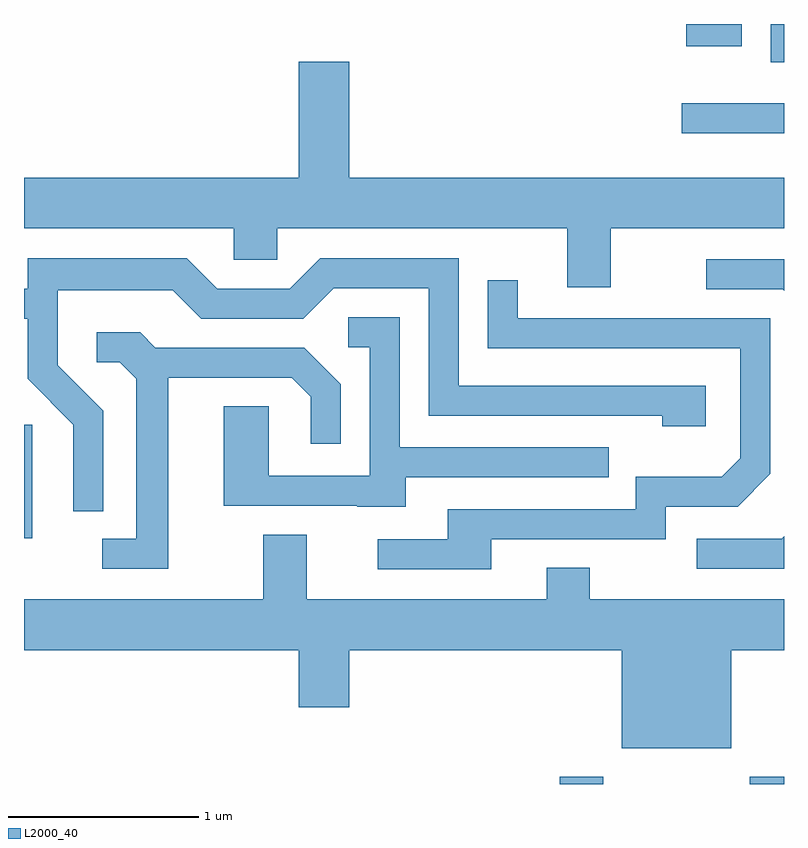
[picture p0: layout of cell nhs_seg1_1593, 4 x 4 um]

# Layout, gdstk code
import gdstk
lib = gdstk.Library(unit=1e-6, precision=1e-09)
def R(c, l, rs):  # rectangles x0, y0, x1, y1
    for r in rs: c.add(gdstk.rectangle(r[:2], r[2:], *l))
def P(c, l, *ps):  # polygons
    for p in ps: c.add(gdstk.Polygon(p, *l))
L2000_40 = (2000, 40)

nhs_seg1_1593 = lib.new_cell('nhs_seg1_1593')
R(nhs_seg1_1593, L2000_40, [(236.431,947.712,236.659,947.749), (237.431,947.712,237.611,947.749), (233.611,949.006,233.654,949.604), (237.073,951.136,237.611,951.294), (237.541,951.511,237.611,951.712), (237.096,951.596,237.389,951.712)])
P(nhs_seg1_1593, L2000_40, [(236.699,950.636),(237.611,950.636),(237.611,950.904),(235.324,950.904),(235.324,951.514),(235.056,951.514),(235.056,950.904),(233.611,950.904),(233.611,950.636),(234.716,950.636),(234.716,950.471),(234.944,950.471),(234.944,950.636),(236.471,950.636),(236.471,950.326),(236.699,950.326)],
  [(234.029,949.677),(233.789,949.917),(233.789,950.311),(234.394,950.311),(234.544,950.161),(235.082,950.161),(235.242,950.321),(235.741,950.321),(235.741,949.651),(236.971,949.651),(236.971,949.596),(237.199,949.596),(237.199,949.809),(235.899,949.809),(235.899,950.479),(235.169,950.479),(235.009,950.319),(234.627,950.319),(234.467,950.479),(233.631,950.479),(233.631,950.319),(233.611,950.319),(233.611,950.161),(233.631,950.161),(233.631,949.844),(233.871,949.604),(233.871,949.148),(234.029,949.148)],
  [(237.611,950.474),(237.203,950.474),(237.203,950.316),(237.604,950.316),(237.611,950.309)],
  [(236.069,949.001),(236.989,949.001),(236.989,949.171),(237.367,949.171),(237.539,949.344),(237.539,950.164),(236.209,950.164),(236.209,950.363),(236.051,950.363),(236.051,950.006),(237.381,950.006),(237.381,949.427),(237.284,949.329),(236.831,949.329),(236.831,949.159),(235.841,949.159),(235.841,948.999),(235.473,948.999),(235.473,948.841),(236.069,948.841)],
  [(235.619,949.326),(236.688,949.326),(236.688,949.484),(235.589,949.484),(235.589,950.169),(235.318,950.169),(235.318,950.011),(235.431,950.011),(235.431,949.334),(234.899,949.334),(234.899,949.699),(234.661,949.699),(234.661,949.176),(235.365,949.176),(235.365,949.171),(235.619,949.171)],
  [(234.369,949.851),(235.019,949.851),(235.121,949.749),(235.121,949.503),(235.279,949.503),(235.279,949.817),(235.087,950.009),(234.302,950.009),(234.222,950.089),(233.993,950.089),(233.993,949.931),(234.114,949.931),(234.201,949.844),(234.201,949.004),(234.023,949.004),(234.023,948.846),(234.369,948.846)],
  [(237.611,949.016),(237.599,949.004),(237.153,949.004),(237.153,948.846),(237.611,948.846)],
  [(236.361,948.849),(236.361,948.684),(235.099,948.684),(235.099,949.024),(234.871,949.024),(234.871,948.684),(233.611,948.684),(233.611,948.416),(235.056,948.416),(235.056,948.116),(235.324,948.116),(235.324,948.416),(236.756,948.416),(236.756,947.901),(237.334,947.901),(237.334,948.416),(237.611,948.416),(237.611,948.684),(236.589,948.684),(236.589,948.849)])

lib.write_gds('nhs_seg1_1593.gds')
